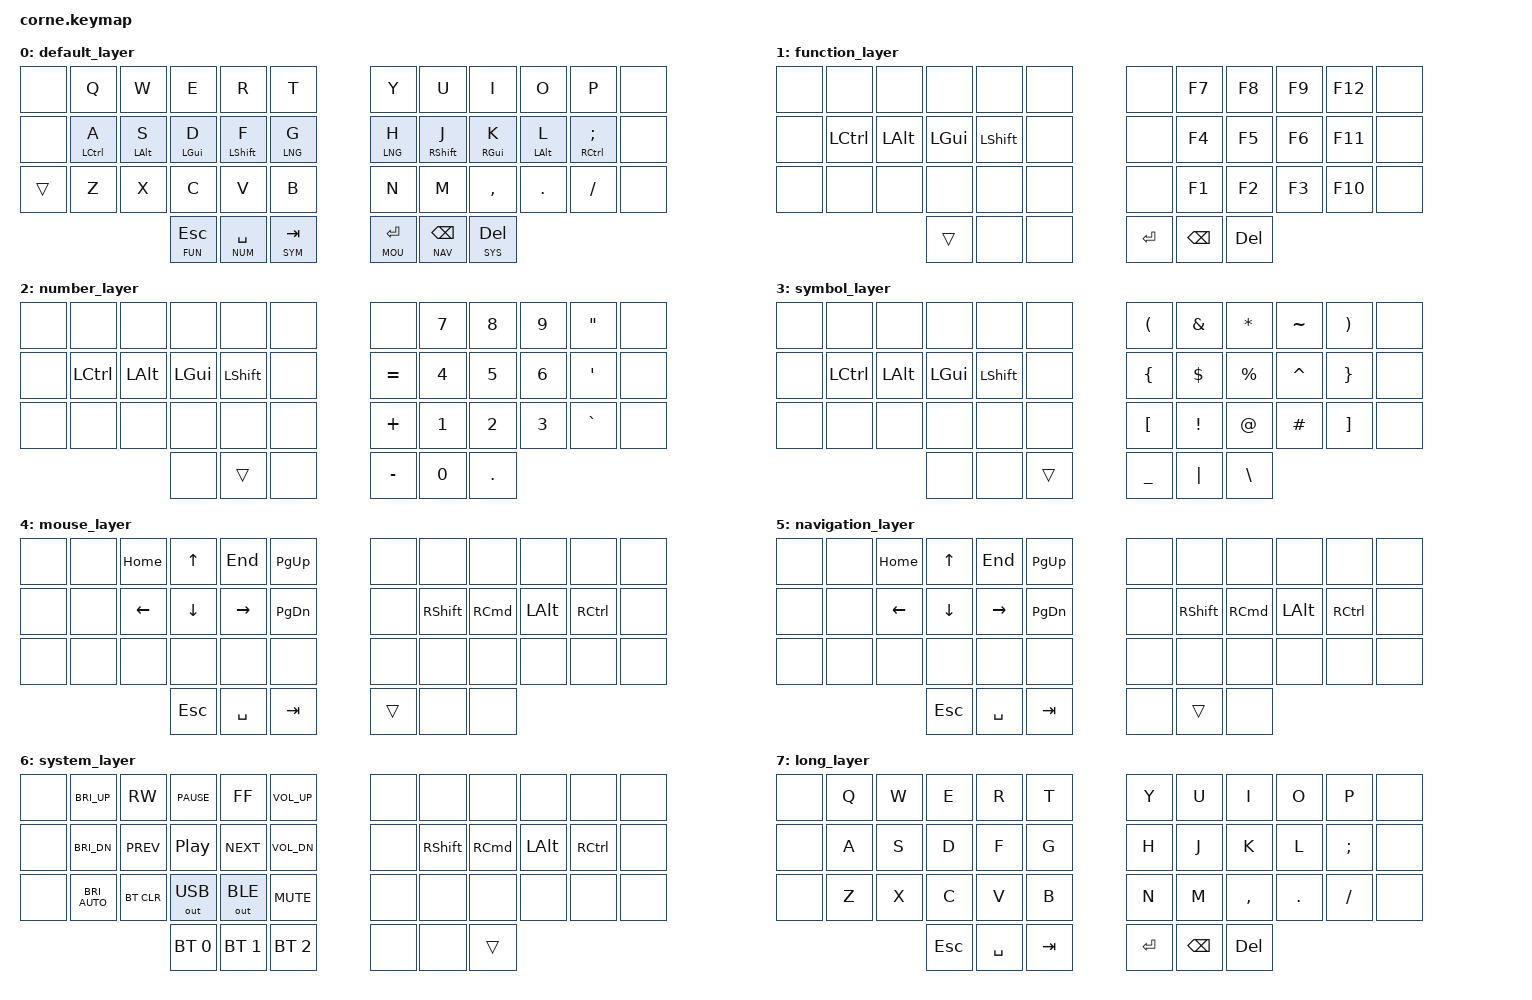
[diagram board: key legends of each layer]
#include <behaviors.dtsi>
#include <dt-bindings/zmk/bt.h>
#include <dt-bindings/zmk/keys.h>
#include <dt-bindings/zmk/outputs.h>

#define DFL 0
#define FUN 1
#define NUM 2
#define SYM 3
#define MOU 4
#define NAV 5
#define SYS 6
#define LNG 7

/ {
    behaviors {
        hm: homerow_mods {
            compatible = "zmk,behavior-hold-tap";
            label = "HOMEROW_MODS";
            #binding-cells = <2>;
            tapping-term-ms = <150>;
            quick_tap_ms = <0>;
            flavor = "tap-preferred";
            bindings = <&kp>, <&kp>;
        };
    };

    keymap {
        compatible = "zmk,keymap";

        default_layer {
            // -----------------------------------------------------------------------------------------
            // | ____ |  Q  |  W  |  E  |  R  |  T  |   |  Y  |  U   |  I  |  O  |  P  | ____ |
            // | ____ |  A  |  S  |  D  |  F  |  G  |   |  H  |  J   |  K  |  L  |  ;  | ____ |
            // | ____ |  Z  |  X  |  C  |  V  |  B  |   |  N  |  M   |  ,  |  .  |  /  | ____ |
            //                    | ESC | SPC | TAB |   | ENT | BSPC | DEL |

            bindings = <
&none   &kp Q        &kp W       &kp E        &kp R          &kp T          &kp Y        &kp U         &kp I        &kp O       &kp P           &none
&none   &hm LCTRL A  &hm LALT S  &hm LGUI D   &hm LSHIFT F   &lt LNG G      &lt LNG H    &hm RSHIFT J  &hm RGUI K   &hm LALT L  &hm RCTRL SEMI  &none
&trans  &kp Z        &kp X       &kp C        &kp V          &kp B          &kp N        &kp M         &kp COMMA    &kp DOT     &kp FSLH        &none
                                 &lt FUN ESC  &lt NUM SPACE  &lt SYM TAB    &lt MOU RET  &lt NAV BSPC  &lt SYS DEL
            >;
        };

        function_layer {
            // -----------------------------------------------------------------------------------------
            // | ____ |     |     |     |     |     |   |     |  F7  | F8  | F9  | F12 | ____ |
            // | ____ | CTL | ALT | CMD | SFT |     |   |     |  F4  | F5  | F6  | F11 | ____ |
            // | ____ |     |     |     |     |     |   |     |  F1  | F2  | F3  | F10 | ____ |
            //                    | XXX |     |     |   | ENT | BSPC | DEL |

            bindings = <
&none  &none      &none     &none     &none       &none    &none    &kp F7    &kp F8   &kp F9  &kp F12  &none
&none  &kp LCTRL  &kp LALT  &kp LGUI  &kp LSHIFT  &none    &none    &kp F4    &kp F5   &kp F6  &kp F11  &none
&none  &none      &none     &none     &none       &none    &none    &kp F1    &kp F2   &kp F3  &kp F10  &none
                            &trans    &none       &none    &kp RET  &kp BSPC  &kp DEL
            >;
        };

        number_layer {
            // -----------------------------------------------------------------------------------------
            // | ____ |     |     |     |     |     |   |     |  7  |  8  |  9  | "   | ____ |
            // | ____ | CTL | ALT | CMD | SFT |     |   |  =  |  4  |  5  |  6  | '   | ____ |
            // | ____ |     |     |     |     |     |   |  +  |  1  |  2  |  3  | `   | ____ |
            //                    |     | XXX |     |   |  -  |  0  |  .  |

            bindings = <
&none  &none      &none     &none     &none       &none    &none      &kp N7  &kp N8   &kp N9  &kp DQT    &none
&none  &kp LCTRL  &kp LALT  &kp LGUI  &kp LSHIFT  &none    &kp EQUAL  &kp N4  &kp N5   &kp N6  &kp SQT    &none
&none  &none      &none     &none     &none       &none    &kp PLUS   &kp N1  &kp N2   &kp N3  &kp GRAVE  &none
                            &none     &trans      &none    &kp MINUS  &kp N0  &kp DOT
            >;
        };

        symbol_layer {
            // -----------------------------------------------------------------------------------------
            // | ____ |     |     |     |     |     |   |  (  |  &  |  *  |  ~  | )   | ____ |
            // | ____ | CTL | ALT | CMD | SFT |     |   |  {  |  $  |  %  |  ^  | }   | ____ |
            // | ____ |     |     |     |     |     |   |  [  |  !  |  @  |  #  | ]   | ____ |
            //                    |     |     | XXX |   |  _  |  |  |  \  |

            bindings = <
&none  &none      &none     &none     &none       &none     &kp LPAR   &kp AMPS  &kp STAR   &kp TILDE  &kp RPAR  &none
&none  &kp LCTRL  &kp LALT  &kp LGUI  &kp LSHIFT  &none     &kp LBRC   &kp DLLR  &kp PRCNT  &kp CARET  &kp RBRC  &none
&none  &none      &none     &none     &none       &none     &kp LBKT   &kp EXCL  &kp AT     &kp HASH   &kp RBKT  &none
                            &none     &none       &trans    &kp UNDER  &kp PIPE  &kp BSLH
            >;
        };

        // ZMK does not support mouse...

        mouse_layer {
            // -----------------------------------------------------------------------------------------
            // | ____ |     | HOME|  ↑  | END | PGUP|   |     |     |     |     |     | ____ |
            // | ____ |     |  ←  |  ↓  |  →  | PGDN|   |     | SFT | CMD | ALT | CTL | ____ |
            // | ____ |     |     |     |     |     |   |     |     |     |     |     | ____ |
            //                    |     |     |     |   | XXX |     |     |

            bindings = <
&none  &none  &kp HOME  &kp UP    &kp END    &kp PG_UP    &none   &none      &none     &none     &none      &none
&none  &none  &kp LEFT  &kp DOWN  &kp RIGHT  &kp PG_DN    &none   &kp RSHFT  &kp RCMD  &kp LALT  &kp RCTRL  &none
&none  &none  &none     &none     &none      &none        &none   &none      &none     &none     &none      &none
                        &kp ESC   &kp SPACE  &kp TAB      &trans  &none      &none
            >;
        };

        navigation_layer {
            // -----------------------------------------------------------------------------------------
            // | ____ |     | HOME|  ↑  | END | PGUP|   |     |     |     |     |     | ____ |
            // | ____ |     |  ←  |  ↓  |  →  | PGDN|   |     | SFT | CMD | ALT | CTL | ____ |
            // | ____ |     |     |     |     |     |   |     |     |     |     |     | ____ |
            //                    |     |     |     |   |     | XXX |     |

            bindings = <
&none  &none  &kp HOME  &kp UP    &kp END    &kp PG_UP    &none  &none      &none     &none     &none      &none
&none  &none  &kp LEFT  &kp DOWN  &kp RIGHT  &kp PG_DN    &none  &kp RSHFT  &kp RCMD  &kp LALT  &kp RCTRL  &none
&none  &none  &none     &none     &none      &none        &none  &none      &none     &none     &none      &none
                        &kp ESC   &kp SPACE  &kp TAB      &none  &trans     &none
            >;
        };

        system_layer {
            // -----------------------------------------------------------------------------------------
            // | ____ | BRUP| REND| PASE| FF  | VLUP|   |     |     |     |     |     | ____ |
            // | ____ | BRDN| PREV| PLAY| NEXT| VLDN|   |     | SFT | CMD | ALT | CTL | ____ |
            // | ____ | BRAT|BTCLR|BTOFF| BTON| MUTE|   |     |     |     |     |     | ____ |
            //                    | BT0 | BT1 | BT2 |   |     |     | XXX |

            bindings = <
&none  &kp C_BRI_UP    &kp C_RW    &kp C_PAUSE   &kp C_FF      &kp C_VOL_UP    &none  &none      &none     &none     &none      &none
&none  &kp C_BRI_DN    &kp C_PREV  &kp C_PP      &kp C_NEXT    &kp C_VOL_DN    &none  &kp RSHFT  &kp RCMD  &kp LALT  &kp RCTRL  &none
&none  &kp C_BRI_AUTO  &bt BT_CLR  &out OUT_USB  &out OUT_BLE  &kp C_MUTE      &none  &none      &none     &none     &none      &none
                                   &bt BT_SEL 0  &bt BT_SEL 1  &bt BT_SEL 2    &none  &none      &trans
            >;
        };

        long_layer {
            // -----------------------------------------------------------------------------------------
            // | ____ |  Q  |  W  |  E  |  R  |  T  |   |  Y  |  U   |  I  |  O  |  P  | ____ |
            // | ____ |  A  |  S  |  D  |  F  |  G  |   |  H  |  J   |  K  |  L  |  ;  | ____ |
            // | ____ |  Z  |  X  |  C  |  V  |  B  |   |  N  |  M   |  ,  |  .  |  /  | ____ |
            //                    | ESC | SPC | TAB |   | ENT | BSPC | DEL |

            bindings = <
&none  &kp Q  &kp W  &kp E    &kp R      &kp T      &kp Y    &kp U     &kp I      &kp O    &kp P     &none
&none  &kp A  &kp S  &kp D    &kp F      &kp G      &kp H    &kp J     &kp K      &kp L    &kp SEMI  &none
&none  &kp Z  &kp X  &kp C    &kp V      &kp B      &kp N    &kp M     &kp COMMA  &kp DOT  &kp FSLH  &none
                     &kp ESC  &kp SPACE  &kp TAB    &kp RET  &kp BSPC  &kp DEL
            >;
        };
    };
};
